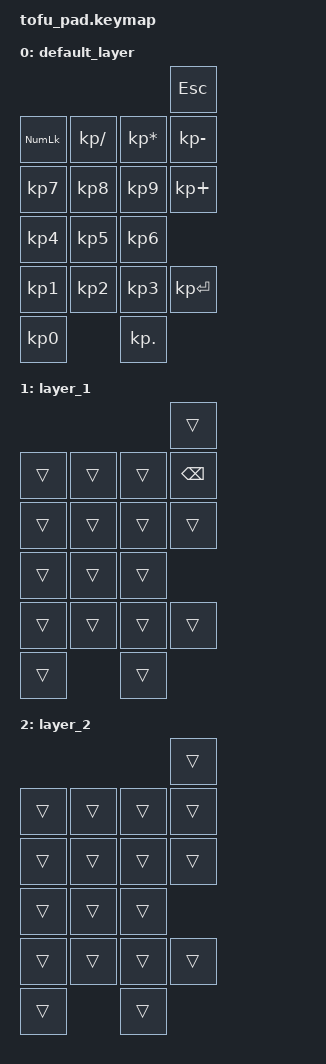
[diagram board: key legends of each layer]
#include <behaviors.dtsi>
#include <dt-bindings/zmk/keys.h>

/ {
    keymap {
        compatible = "zmk,keymap";

        default_layer {
            bindings = <
                                               &kp ESC
&kp KP_NUMLOCK  &kp KP_SLASH  &kp KP_MULTIPLY  &kp KP_MINUS
&kp KP_N7       &kp KP_N8     &kp KP_N9        &kp KP_PLUS
&kp KP_N4       &kp KP_N5     &kp KP_N6
&kp KP_N1       &kp KP_N2     &kp KP_N3        &kp KP_ENTER
&kp KP_N0                     &kp KP_DOT
            >;
        };

        layer_1 {
            bindings = <
                        &trans
&trans  &trans  &trans  &kp BACKSPACE
&trans  &trans  &trans  &trans
&trans  &trans  &trans
&trans  &trans  &trans  &trans
&trans          &trans
            >;
        };

        layer_2 {
            bindings = <
                        &trans
&trans  &trans  &trans  &trans
&trans  &trans  &trans  &trans
&trans  &trans  &trans
&trans  &trans  &trans  &trans
&trans          &trans
            >;
        };
    };
};
